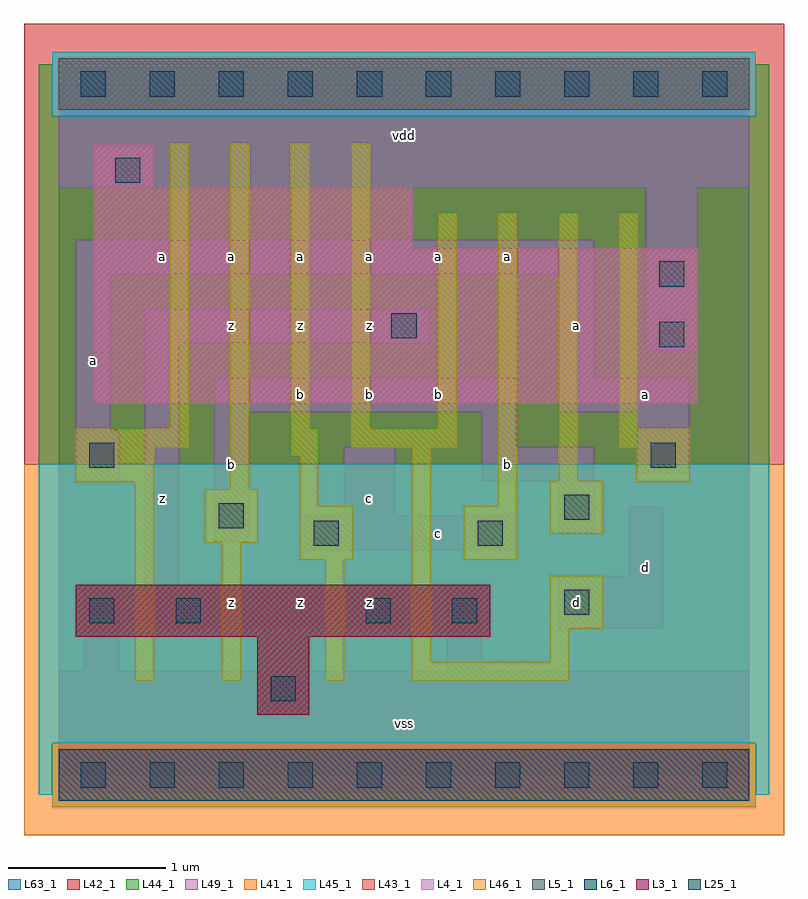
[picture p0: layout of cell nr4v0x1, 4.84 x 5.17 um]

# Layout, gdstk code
import gdstk
lib = gdstk.Library(unit=1e-6, precision=1e-09)
def R(c, l, rs):  # rectangles x0, y0, x1, y1
    for r in rs: c.add(gdstk.rectangle(r[:2], r[2:], *l))
def A(c, l, x, y, w, h, nx, ny, dx, dy):  # array of equal rectangles
    R(c, l, [(x+i*dx, y+j*dy, x+i*dx+w, y+j*dy+h) for i in range(nx) for j in range(ny)])
L3_1 = (3, 1)
L4_1 = (4, 1)
L5_1 = (5, 1)
L6_1 = (6, 1)
L25_1 = (25, 1)
L41_1 = (41, 1)
L42_1 = (42, 1)
L43_1 = (43, 1)
L44_1 = (44, 1)
L45_1 = (45, 1)
L46_1 = (46, 1)
L49_1 = (49, 1)
L63_1 = (63, 1)

nr4v0x1 = lib.new_cell('nr4v0x1')
R(nr4v0x1, L3_1, [(1.265,0.385,1.595,0.88), (0.11,0.88,2.75,1.21)])
R(nr4v0x1, L4_1, [(0.22,2.365,4.07,3.355), (0.22,3.355,2.255,3.74), (0.22,3.74,0.605,4.015)])
R(nr4v0x1, L5_1, [(0,4.235,4.4,4.565)])
R(nr4v0x1, L6_1, [(0,-0.165,4.4,0.165)])
A(nr4v0x1, L25_1, 0.14, -0.08, 0.16, 0.16, 10, 2, 0.44, 4.4)
R(nr4v0x1, L25_1, [(1.35,0.47,1.51,0.63), (0.195,0.965,0.355,1.125), (0.745,0.965,0.905,1.125), (1.955,0.965,2.115,1.125), (2.505,0.965,2.665,1.125), (3.22,1.02,3.38,1.18), (1.625,1.46,1.785,1.62), (2.67,1.46,2.83,1.62), (1.02,1.57,1.18,1.73), (3.22,1.625,3.38,1.785), (0.195,1.955,0.355,2.115), (3.77,1.955,3.93,2.115), (3.825,2.725,3.985,2.885), (2.12,2.78,2.28,2.94), (3.825,3.11,3.985,3.27), (0.36,3.77,0.52,3.93)])
R(nr4v0x1, L41_1, [(-0.22,-0.385,4.62,1.98)])
R(nr4v0x1, L42_1, [(-0.22,1.98,4.62,4.785)])
R(nr4v0x1, L43_1, [(0,-0.165,4.4,0.165), (1.265,0.385,1.595,0.88), (0.11,0.88,2.75,1.21), (0.22,2.365,4.07,3.355), (0.22,3.355,2.255,3.74), (0.22,3.74,0.605,4.015), (0,4.235,4.4,4.565)])
R(nr4v0x1, L44_1, [(-0.04,-0.205,4.44,0.205), (-0.125,1.98,4.525,4.195), (-0.125,4.195,-0.04,4.525), (4.44,4.195,4.525,4.525)])
R(nr4v0x1, L45_1, [(-0.125,-0.125,-0.04,0.205), (4.44,-0.125,4.525,0.205), (-0.125,0.205,4.525,1.98), (-0.04,4.195,4.44,4.605)])
R(nr4v0x1, L46_1, [(0.49,0.6,0.61,1.865), (1.04,0.6,1.16,1.48), (1.7,0.6,1.82,1.37), (2.25,0.6,3.25,0.72), (2.25,0.72,2.37,2.085), (3.13,0.72,3.25,0.93), (3.13,0.93,3.47,1.27), (1.535,1.37,1.875,1.71), (2.58,1.37,2.92,1.71), (0.93,1.48,1.27,1.82), (3.13,1.535,3.47,1.875), (1.535,1.71,1.655,2.03), (2.8,1.71,2.92,3.58), (1.095,1.82,1.215,4.02), (0.105,1.865,0.61,2.085), (3.68,1.865,4.02,2.085), (3.185,1.875,3.305,3.58), (1.48,2.03,1.655,2.205), (0.105,2.085,0.83,2.205), (1.865,2.085,2.535,2.205), (3.57,2.085,4.02,2.205), (0.71,2.205,0.83,4.02), (1.48,2.205,1.6,4.02), (1.865,2.205,1.985,4.02), (2.415,2.205,2.535,3.58), (3.57,2.205,3.69,3.58)])
R(nr4v0x1, L49_1, [(0,-0.11,4.4,0.66), (0.165,0.66,0.385,1.21), (2.475,0.66,2.695,1.21), (0.55,0.935,2.2,1.21), (3.19,0.935,3.85,1.265), (0.55,1.21,0.77,2.75), (3.63,1.265,3.85,1.705), (1.54,1.43,2.915,1.65), (0.99,1.485,1.21,2.31), (3.19,1.54,3.41,1.87), (1.815,1.65,2.145,2.09), (0.11,1.87,0.385,2.2), (2.695,1.87,3.41,2.09), (3.685,1.925,4.015,2.31), (2.695,2.09,2.915,2.31), (0.11,2.2,0.33,3.19), (0.99,2.31,2.915,2.53), (3.19,2.31,4.015,2.53), (3.19,2.53,3.41,3.19), (3.74,2.695,4.07,3.74), (0.55,2.75,2.365,2.97), (0.11,3.19,3.41,3.41), (0,3.74,4.4,4.51)])
R(nr4v0x1, L63_1, [(0,0,4.4,4.4)])
nr4v0x1.add(gdstk.Label('a', (0.22,2.64), layer=49, texttype=1))
nr4v0x1.add(gdstk.Label('z', (1.54,1.1), layer=49, texttype=1))
nr4v0x1.add(gdstk.Label('z', (1.1,1.1), layer=49, texttype=1))
nr4v0x1.add(gdstk.Label('z', (0.66,1.76), layer=49, texttype=1))
nr4v0x1.add(gdstk.Label('b', (1.54,2.42), layer=49, texttype=1))
nr4v0x1.add(gdstk.Label('b', (1.1,1.98), layer=49, texttype=1))
nr4v0x1.add(gdstk.Label('z', (1.54,2.86), layer=49, texttype=1))
nr4v0x1.add(gdstk.Label('z', (1.1,2.86), layer=49, texttype=1))
nr4v0x1.add(gdstk.Label('a', (0.66,3.3), layer=49, texttype=1))
nr4v0x1.add(gdstk.Label('a', (1.54,3.3), layer=49, texttype=1))
nr4v0x1.add(gdstk.Label('a', (1.1,3.3), layer=49, texttype=1))
nr4v0x1.add(gdstk.Label('vss', (2.2,0.33), layer=49, texttype=1))
nr4v0x1.add(gdstk.Label('c', (2.42,1.54), layer=49, texttype=1))
nr4v0x1.add(gdstk.Label('z', (1.98,1.1), layer=49, texttype=1))
nr4v0x1.add(gdstk.Label('c', (1.98,1.76), layer=49, texttype=1))
nr4v0x1.add(gdstk.Label('b', (2.42,2.42), layer=49, texttype=1))
nr4v0x1.add(gdstk.Label('b', (1.98,2.42), layer=49, texttype=1))
nr4v0x1.add(gdstk.Label('z', (1.98,2.86), layer=49, texttype=1))
nr4v0x1.add(gdstk.Label('a', (2.42,3.3), layer=49, texttype=1))
nr4v0x1.add(gdstk.Label('a', (1.98,3.3), layer=49, texttype=1))
nr4v0x1.add(gdstk.Label('vdd', (2.2,4.07), layer=49, texttype=1))
nr4v0x1.add(gdstk.Label('d', (3.3,1.1), layer=49, texttype=1))
nr4v0x1.add(gdstk.Label('b', (2.86,1.98), layer=49, texttype=1))
nr4v0x1.add(gdstk.Label('a', (3.3,2.86), layer=49, texttype=1))
nr4v0x1.add(gdstk.Label('a', (2.86,3.3), layer=49, texttype=1))
nr4v0x1.add(gdstk.Label('d', (3.74,1.32), layer=49, texttype=1))
nr4v0x1.add(gdstk.Label('a', (3.74,2.42), layer=49, texttype=1))

lib.write_gds('nr4v0x1.gds')
